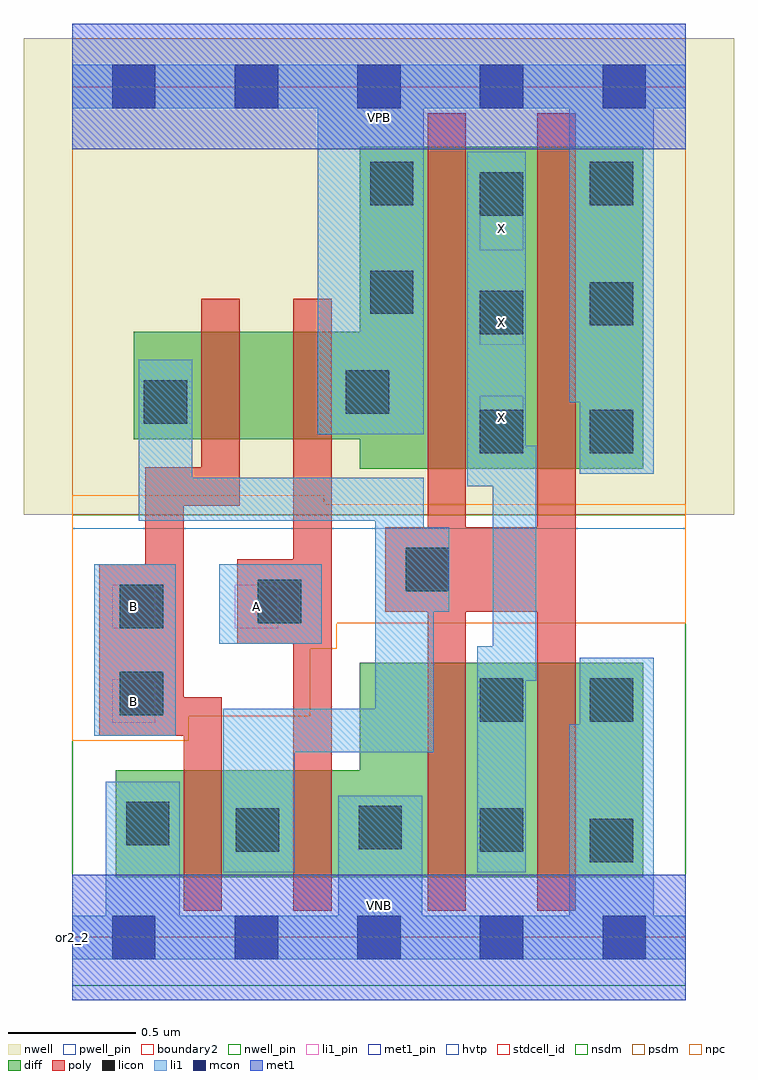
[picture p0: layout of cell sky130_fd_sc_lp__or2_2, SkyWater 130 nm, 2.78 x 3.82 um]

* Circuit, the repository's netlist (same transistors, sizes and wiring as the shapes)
* Copyright 2020 The SkyWater PDK Authors
*
* Licensed under the Apache License, Version 2.0 (the "License");
* you may not use this file except in compliance with the License.
* You may obtain a copy of the License at
*
*     https://www.apache.org/licenses/LICENSE-2.0
*
* Unless required by applicable law or agreed to in writing, software
* distributed under the License is distributed on an "AS IS" BASIS,
* WITHOUT WARRANTIES OR CONDITIONS OF ANY KIND, either express or implied.
* See the License for the specific language governing permissions and
* limitations under the License.
*
* SPDX-License-Identifier: Apache-2.0

.SUBCKT sky130_fd_sc_lp__or2_2 A B VGND VNB VPB VPWR X
*.PININFO A:I B:I VGND:I VNB:I VPB:I VPWR:I X:O
MMP0 VPWR A sndPA VPB sky130_fd_pr__pfet_01v8_hvt m=1 w=0.42U l=0.15U mult=1 sa=0.265
+ sb=0.265 sd=0.28 area=0.063 perim=1.14
MMP1 sndPA B y VPB sky130_fd_pr__pfet_01v8_hvt m=1 w=0.42U l=0.15U mult=1 sa=0.265
+ sb=0.265 sd=0.28 area=0.063 perim=1.14
MMIP2 X y VPWR VPB sky130_fd_pr__pfet_01v8_hvt m=2 w=1.26U l=0.15U mult=1 sa=0.265
+ sb=0.265 sd=0.28 area=0.063 perim=1.14
MMN0 y A VGND VNB sky130_fd_pr__nfet_01v8 m=1 w=0.42U l=0.15U mult=1 sa=0.265 sb=0.265
+ sd=0.28 area=0.063 perim=1.14
MMN1 y B VGND VNB sky130_fd_pr__nfet_01v8 m=1 w=0.42U l=0.15U mult=1 sa=0.265 sb=0.265
+ sd=0.28 area=0.063 perim=1.14
MMIN2 X y VGND VNB sky130_fd_pr__nfet_01v8 m=2 w=0.84U l=0.15U mult=1 sa=0.265
+ sb=0.265 sd=0.28 area=0.063 perim=1.14
.ENDS sky130_fd_sc_lp__or2_2

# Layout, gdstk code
import gdstk
lib = gdstk.Library(unit=1e-6, precision=1e-09)
def R(c, l, rs):  # rectangles x0, y0, x1, y1
    for r in rs: c.add(gdstk.rectangle(r[:2], r[2:], *l))
def A(c, l, x, y, w, h, nx, ny, dx, dy):  # array of equal rectangles
    R(c, l, [(x+i*dx, y+j*dy, x+i*dx+w, y+j*dy+h) for i in range(nx) for j in range(ny)])
def P(c, l, *ps):  # polygons
    for p in ps: c.add(gdstk.Polygon(p, *l))
nwell_pin = (64, 16)
nwell = (64, 20)
diff = (65, 20)
poly = (66, 20)
licon = (66, 44)
li1_pin = (67, 16)
li1 = (67, 20)
mcon = (67, 44)
met1_pin = (68, 16)
met1 = (68, 20)
hvtp = (78, 44)
stdcell_id = (81, 4)
nsdm = (93, 44)
psdm = (94, 20)
npc = (95, 20)
pwell_pin = (122, 16)
boundary2 = (236, 0)

sky130_fd_sc_lp__or2_2 = lib.new_cell('sky130_fd_sc_lp__or2_2')
R(sky130_fd_sc_lp__or2_2, nwell_pin, [(0,3.085,2.4,3.33)])
R(sky130_fd_sc_lp__or2_2, nwell, [(-0.19,1.655,2.59,3.52)])
P(sky130_fd_sc_lp__or2_2, diff, [(2.235,3.095),(1.125,3.095),(1.125,2.37),(0.24,2.37),(0.24,1.95),(1.125,1.95),(1.125,1.835),(2.235,1.835)],
  [(2.235,1.075),(1.125,1.075),(1.125,0.655),(0.17,0.655),(0.17,0.235),(2.235,0.235)])
P(sky130_fd_sc_lp__or2_2, poly, [(0.655,2.5),(0.505,2.5),(0.505,1.84),(0.285,1.84),(0.285,1.46),(0.105,1.46),(0.105,0.79),(0.435,0.79),(0.435,0.105),(0.585,0.105),(0.585,0.94),(0.435,0.94),(0.435,1.69),(0.655,1.69)],
  [(1.015,2.5),(0.865,2.5),(0.865,1.48),(0.645,1.48),(0.645,1.15),(0.865,1.15),(0.865,0.105),(1.015,0.105)],
  [(1.97,3.225),(1.82,3.225),(1.82,1.605),(1.54,1.605),(1.54,3.225),(1.39,3.225),(1.39,1.605),(1.225,1.605),(1.225,1.275),(1.39,1.275),(1.39,0.105),(1.54,0.105),(1.54,1.275),(1.82,1.275),(1.82,0.105),(1.97,0.105)])
A(sky130_fd_sc_lp__or2_2, licon, 1.595, 1.895, 0.17, 0.17, 1, 3, 0, 0.465)
R(sky130_fd_sc_lp__or2_2, licon, [(2.025,0.295,2.195,0.465), (0.64,0.335,0.81,0.505), (1.595,0.335,1.765,0.505), (1.12,0.345,1.29,0.515), (0.21,0.36,0.38,0.53), (1.595,0.845,1.765,1.015), (2.025,0.845,2.195,1.015), (0.185,0.87,0.355,1.04), (0.185,1.21,0.355,1.38), (0.725,1.23,0.895,1.4), (1.305,1.355,1.475,1.525), (2.025,1.895,2.195,2.065), (0.28,2.01,0.45,2.18), (1.07,2.05,1.24,2.22), (2.025,2.395,2.195,2.565), (1.165,2.44,1.335,2.61), (1.165,2.865,1.335,3.035), (2.025,2.865,2.195,3.035)])
A(sky130_fd_sc_lp__or2_2, li1_pin, 1.595, 1.95, 0.17, 0.17, 1, 3, 0, 0.37)
R(sky130_fd_sc_lp__or2_2, li1_pin, [(0.155,0.84,0.325,1.01), (0.155,1.21,0.325,1.38), (0.635,1.21,0.805,1.38)])
R(sky130_fd_sc_lp__or2_2, li1, [(0.085,0.79,0.405,1.46), (0.575,1.15,0.975,1.46)])
P(sky130_fd_sc_lp__or2_2, li1, [(2.4,3.415),(0,3.415),(0,3.245),(0.96,3.245),(0.96,1.97),(1.375,1.97),(1.375,3.245),(1.945,3.245),(1.945,2.095),(1.985,2.095),(1.985,1.815),(2.275,1.815),(2.275,3.245),(2.4,3.245)],
  [(2.4,0.085),(2.275,0.085),(2.275,1.095),(1.985,1.095),(1.985,0.835),(1.945,0.835),(1.945,0.085),(1.37,0.085),(1.37,0.555),(1.04,0.555),(1.04,0.085),(0.42,0.085),(0.42,0.61),(0.13,0.61),(0.13,0.085),(0,0.085),(0,-0.085),(2.4,-0.085)],
  [(1.545,1.765),(1.545,3.075),(1.775,3.075),(1.775,1.925),(1.815,1.925),(1.815,1.005),(1.775,1.005),(1.775,0.255),(1.585,0.255),(1.585,1.14),(1.645,1.14),(1.645,1.765)],
  [(1.185,0.895),(1.185,1.63),(0.26,1.63),(0.26,2.26),(0.47,2.26),(0.47,1.8),(1.375,1.8),(1.375,1.605),(1.475,1.605),(1.475,1.275),(1.415,1.275),(1.415,0.725),(0.87,0.725),(0.87,0.255),(0.59,0.255),(0.59,0.895)])
A(sky130_fd_sc_lp__or2_2, mcon, 0.155, -0.085, 0.17, 0.17, 5, 2, 0.48, 3.33)
R(sky130_fd_sc_lp__or2_2, met1_pin, [(0,0,2.4,0.245), (0,3.085,2.4,3.33)])
R(sky130_fd_sc_lp__or2_2, met1, [(0,-0.245,2.4,0.245), (0,3.085,2.4,3.575)])
R(sky130_fd_sc_lp__or2_2, hvtp, [(0,1.6,2.4,3.33)])
R(sky130_fd_sc_lp__or2_2, stdcell_id, [(0,0,2.4,3.33)])
R(sky130_fd_sc_lp__or2_2, nsdm, [(0,-0.19,2.4,1.655)])
R(sky130_fd_sc_lp__or2_2, psdm, [(0,1.655,2.4,3.52)])
P(sky130_fd_sc_lp__or2_2, npc, [(2.4,1.695),(0.985,1.695),(0.985,1.73),(0,1.73),(0,0.77),(0.455,0.77),(0.455,0.865),(0.93,0.865),(0.93,1.13),(1.035,1.13),(1.035,1.23),(2.4,1.23)])
R(sky130_fd_sc_lp__or2_2, pwell_pin, [(0,0,2.4,0.245)])
R(sky130_fd_sc_lp__or2_2, boundary2, [(0,0,2.4,3.33)])
sky130_fd_sc_lp__or2_2.add(gdstk.Label('VNB', (1.2,0.123), layer=64, texttype=59))
sky130_fd_sc_lp__or2_2.add(gdstk.Label('VPB', (1.2,3.208), layer=64, texttype=5))
sky130_fd_sc_lp__or2_2.add(gdstk.Label('or2_2', (0,0), layer=83, texttype=44))
sky130_fd_sc_lp__or2_2.add(gdstk.Label('VPWR', (1.2,3.208), layer=68, texttype=5))
sky130_fd_sc_lp__or2_2.add(gdstk.Label('VGND', (1.2,0.123), layer=68, texttype=5))
sky130_fd_sc_lp__or2_2.add(gdstk.Label('X', (1.68,2.035), layer=67, texttype=5))
sky130_fd_sc_lp__or2_2.add(gdstk.Label('X', (1.68,2.405), layer=67, texttype=5))
sky130_fd_sc_lp__or2_2.add(gdstk.Label('X', (1.68,2.775), layer=67, texttype=5))
sky130_fd_sc_lp__or2_2.add(gdstk.Label('A', (0.72,1.295), layer=67, texttype=5))
sky130_fd_sc_lp__or2_2.add(gdstk.Label('B', (0.24,0.925), layer=67, texttype=5))
sky130_fd_sc_lp__or2_2.add(gdstk.Label('B', (0.24,1.295), layer=67, texttype=5))

lib.write_gds('sky130_fd_sc_lp__or2_2.gds')
